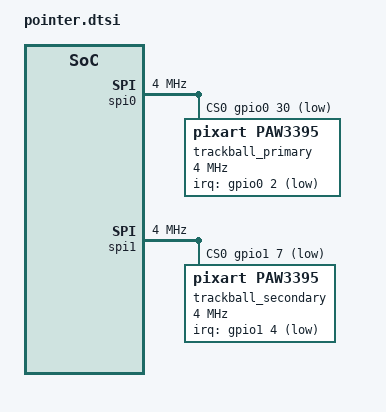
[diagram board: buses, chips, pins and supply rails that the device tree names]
/*
 * Trackball peripheral pointer configuration.
 * Full processing chain runs on peripheral, XYZ compressed before BLE.
 * Dongle only decompresses.
 */

#include <dt-bindings/zmk/pointing.h>
#include <dt-bindings/zmk/p2sm.h>
#include <dt-bindings/zmk/paw3395-modes.h>
#include <zephyr/dt-bindings/input/input-event-codes.h>
#include <input/processors/xyz.dtsi>

/* Base mixer node */
/ {
	zip_2s_mixer: zip_2s_mixer {
		compatible = "zmk,pointer-2s-mixer";
		#input-processor-cells = <1>;
		sync-report-ms = <1>;
		sync-scroll-report-ms = <8>;
	};
};

&zip_2s_mixer {
	status = "okay";
	sync-report-ms = <0>;
	sync-scroll-report-ms = <8>;
	twist-thres = <3>;
	twist-interference-thres = <200>;
	ball-radius = <102>;
	sensor1-pos = [31 4B 2D];
	sensor2-pos = [C1 3C 2D];
};

/ {
	/* Custom scroll scaler with internal remainder tracking */
	zip_scroll_scaler_int: zip_scroll_scaler_int {
		compatible = "zmk,scroll-scaler";
		#input-processor-cells = <2>;
	};

	/* Pointer acceleration curve — dampens slow movements, passes fast ones */
	zip_pointer_accel: zip_pointer_accel {
		compatible = "zmk,accel-curve";
		#input-processor-cells = <0>;
		max-curves = <4>;
		points = <36>;
		event-codes = <INPUT_REL_X INPUT_REL_Y>;
		curve-data = <0 0 116 41 10 32 16 39
		116 41 4809 100 782 41 171 100>;
	};

	/* Scroll acceleration curve — amplifies scroll after 1/10 scaling */
	zip_scroll_accel: zip_scroll_accel {
		compatible = "zmk,accel-curve";
		#input-processor-cells = <0>;
		max-curves = <4>;
		points = <24>;
		event-codes = <INPUT_REL_WHEEL INPUT_REL_HWHEEL>;
		curve-data = <0 0 102 100 10 38 10 100
		102 100 5702 406 2271 89 544 355>;
	};

	/* Report rate limiter — throttles BLE event rate */
	zip_ble_report_rate_limit: zip_ble_report_rate_limit {
		compatible = "zmk,input-processor-report-rate-limit";
		#input-processor-cells = <0>;
		codes = <INPUT_REL_X INPUT_REL_Y INPUT_REL_WHEEL INPUT_REL_HWHEEL>;
		limit-ble-only;
	};

	/*
	 * Input-split: captures mixer output, processes fully, compresses, sends over BLE.
	 * Chain: scroll_scaler → pointer_accel → scroll_accel → rate_limit → xyz_compress
	 */
	split_inputs {
		#address-cells = <1>;
		#size-cells = <0>;
		trackball_split: trackball_split@0 {
			compatible = "zmk,input-split";
			reg = <0>;
			device = <&zip_2s_mixer>;
			input-processors =
			<&zip_scroll_scaler_int 1 10>,
			<&zip_pointer_accel>,
			<&zip_scroll_accel>,
			<&zip_ble_report_rate_limit>,
			<&zip_xyz>;
		};
	};

	/* Input-listeners for sensor → mixer bridge (compiled out on split peripheral,
	 * but the bridge code in efogtech_trackball_0.c handles this instead) */
	trackball_primary_listener: trackball_primary_listener {
		compatible = "zmk,input-listener";
		device = <&trackball_primary>;
		input-processors = <&zip_2s_mixer INPUT_MIXER_SENSOR1>;
	};

	trackball_secondary_listener: trackball_secondary_listener {
		compatible = "zmk,input-listener";
		device = <&trackball_secondary>;
		input-processors = <&zip_2s_mixer INPUT_MIXER_SENSOR2>;
	};
};

&spi0 {
	status = "okay";
	compatible = "nordic,nrf-spim";
	pinctrl-0 = <&spi0_default>;
	pinctrl-1 = <&spi0_sleep>;
	pinctrl-names = "default", "sleep";
	cs-gpios = <&gpio0 30 (GPIO_ACTIVE_LOW)>;
	clock-frequency = <4000000>;

	trackball_primary: trackball_primary@0 {
		status = "okay";
		compatible = "pixart,paw3395";
		reg = <0>;
		spi-max-frequency = <4000000>;
		irq-gpios = <&gpio0 2 (GPIO_ACTIVE_LOW | GPIO_PULL_UP)>;
		cpi = <2400>;
		evt-type = <INPUT_EV_REL>;
		x-input-code = <INPUT_REL_X>;
		y-input-code = <INPUT_REL_Y>;
		power-mode = <PAW3395_OFFICE>;
		invert-x;
		invert-y;
	};
};

&spi1 {
	status = "okay";
	compatible = "nordic,nrf-spim";
	pinctrl-0 = <&spi1_default>;
	pinctrl-1 = <&spi1_sleep>;
	pinctrl-names = "default", "sleep";
	cs-gpios = <&gpio1 7 (GPIO_ACTIVE_LOW)>;
	clock-frequency = <4000000>;

	trackball_secondary: trackball_secondary@0 {
		status = "okay";
		compatible = "pixart,paw3395";
		reg = <0>;
		spi-max-frequency = <4000000>;
		irq-gpios = <&gpio1 4 (GPIO_ACTIVE_LOW | GPIO_PULL_UP)>;
		cpi = <2400>;
		evt-type = <INPUT_EV_REL>;
		x-input-code = <INPUT_REL_X>;
		y-input-code = <INPUT_REL_Y>;
		power-mode = <PAW3395_OFFICE>;
	};
};
